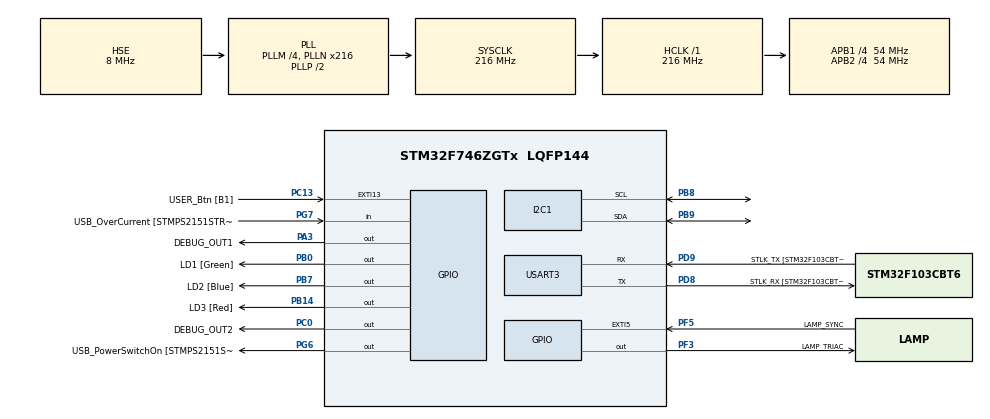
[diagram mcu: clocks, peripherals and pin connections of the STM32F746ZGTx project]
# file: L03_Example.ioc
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I2C1.Timing=0x20404768
Mcu.Family=STM32F7
Mcu.Name=STM32F746ZGTx
Mcu.Package=LQFP144
NVIC.EXTI15_10_IRQn=true\:0\:0\:false\:false\:true\:true\:true\:true
NVIC.EXTI9_5_IRQn=true\:0\:0\:false\:false\:true\:true\:true\:true
NVIC.PriorityGroup=NVIC_PRIORITYGROUP_4
NVIC.TIM2_IRQn=true\:0\:0\:false\:false\:true\:true\:true\:true
NVIC.TIM7_IRQn=true\:0\:0\:false\:false\:true\:true\:true\:true
NVIC.USART3_IRQn=true\:1\:0\:true\:false\:true\:true\:true\:true
PA1.GPIO_Label=RMII_REF_CLK [LAN8742A-CZ-TR_REFCLK0]
PA1.Signal=ETH_REF_CLK
PA10.GPIO_Label=USB_ID
PA10.Signal=USB_OTG_FS_ID
PA11.GPIO_Label=USB_DM
PA11.Signal=USB_OTG_FS_DM
PA12.GPIO_Label=USB_DP
PA12.Signal=USB_OTG_FS_DP
PA13.GPIO_Label=TMS
PA13.Mode=Serial_Wire
PA13.Signal=SYS_JTMS-SWDIO
PA14.GPIO_Label=TCK
PA14.Mode=Serial_Wire
PA14.Signal=SYS_JTCK-SWCLK
PA2.GPIO_Label=RMII_MDIO [LAN8742A-CZ-TR_MDIO]
PA2.Signal=ETH_MDIO
PA3.GPIO_Label=DEBUG_OUT1
PA3.Signal=GPIO_Output
PA7.GPIO_Label=RMII_CRS_DV [LAN8742A-CZ-TR_CRS_DV]
PA7.Signal=ETH_CRS_DV
PA8.GPIO_Label=USB_SOF [TP1]
PA8.Signal=USB_OTG_FS_SOF
PA9.GPIO_Label=USB_VBUS
PA9.Signal=USB_OTG_FS_VBUS
PB0.GPIO_Label=LD1 [Green]
PB0.Signal=GPIO_Output
PB13.GPIO_Label=RMII_TXD1 [LAN8742A-CZ-TR_TXD1]
PB13.Signal=ETH_TXD1
PB14.GPIO_Label=LD3 [Red]
PB14.Signal=GPIO_Output
PB3.GPIO_Label=SW0
PB3.Signal=SYS_JTDO-SWO
PB7.GPIO_Label=LD2 [Blue]
PB7.Signal=GPIO_Output
PB8.Mode=I2C
PB8.Signal=I2C1_SCL
PB9.Mode=I2C
PB9.Signal=I2C1_SDA
PC0.GPIO_Label=DEBUG_OUT2
PC0.Signal=GPIO_Output
PC1.GPIO_Label=RMII_MDC [LAN8742A-CZ-TR_MDC]
PC1.Signal=ETH_MDC
PC13.GPIO_Label=USER_Btn [B1]
PC13.Signal=GPXTI13
PC14/OSC32_IN.Mode=LSE-External-Oscillator
PC14/OSC32_IN.Signal=RCC_OSC32_IN
PC15/OSC32_OUT.Mode=LSE-External-Oscillator
PC15/OSC32_OUT.Signal=RCC_OSC32_OUT
PC4.GPIO_Label=RMII_RXD0 [LAN8742A-CZ-TR_RXD0]
PC4.Signal=ETH_RXD0
PC5.GPIO_Label=RMII_RXD1 [LAN8742A-CZ-TR_RXD1]
PC5.Signal=ETH_RXD1
PD8.GPIO_Label=STLK_RX [STM32F103CBT6_PA3]
PD8.GPIO_PuPd=GPIO_PULLUP
PD8.Mode=Asynchronous
PD8.Signal=USART3_TX
PD9.GPIO_Label=STLK_TX [STM32F103CBT6_PA2]
PD9.GPIO_PuPd=GPIO_PULLUP
PD9.Mode=Asynchronous
PD9.Signal=USART3_RX
PF3.GPIO_Label=LAMP_TRIAC
PF3.Signal=GPIO_Output
PF5.GPIO_Label=LAMP_SYNC
PF5.Signal=GPXTI5
PG11.GPIO_Label=RMII_TX_EN [LAN8742A-CZ-TR_TXEN]
PG11.Signal=ETH_TX_EN
PG13.GPIO_Label=RMII_TXD0 [LAN8742A-CZ-TR_TXD0]
PG13.Signal=ETH_TXD0
PG6.GPIO_Label=USB_PowerSwitchOn [STMPS2151STR_EN]
PG6.Signal=GPIO_Output
PG7.GPIO_Label=USB_OverCurrent [STMPS2151STR_FAULT]
PG7.Signal=GPIO_Input
PH0/OSC_IN.GPIO_Label=MCO [STM32F103CBT6_PA8]
PH0/OSC_IN.Mode=HSE-External-Clock-Source
PH0/OSC_IN.Signal=RCC_OSC_IN
PH1/OSC_OUT.Mode=HSE-External-Clock-Source
PH1/OSC_OUT.Signal=RCC_OSC_OUT
ProjectManager.HeapSize=0x200
ProjectManager.StackSize=0x400
ProjectManager.TargetToolchain=STM32CubeIDE
RCC.48MHZClocksFreq_Value=24000000
RCC.AHBFreq_Value=216000000
RCC.APB1CLKDivider=RCC_HCLK_DIV4
RCC.APB1Freq_Value=54000000
RCC.APB1TimFreq_Value=108000000
RCC.APB2CLKDivider=RCC_HCLK_DIV4
RCC.APB2Freq_Value=54000000
RCC.APB2TimFreq_Value=108000000
RCC.CortexFreq_Value=216000000
RCC.HCLKFreq_Value=216000000
RCC.HSE_VALUE=8000000
RCC.HSI_VALUE=16000000
RCC.PLLM=4
RCC.PLLMUL=RCC_PLL_MUL9
RCC.PLLN=216
RCC.PLLQ=3
RCC.PLLSourceVirtual=RCC_PLLSOURCE_HSE
RCC.PRESCALERUSB=RCC_USBCLKSOURCE_PLL_DIV1_5
RCC.SYSCLKFreq_VALUE=216000000
RCC.SYSCLKSource=RCC_SYSCLKSOURCE_PLLCLK
RCC.SYSCLKSourceVirtual=RCC_SYSCLKSOURCE_PLLCLK
RCC.USBFreq_Value=144000000
RCC.VCOOutputFreq_Value=432000000
TIM2.Period=5000 - 1
TIM2.Prescaler=108 - 1
TIM7.Period=100 - 1
TIM7.Prescaler=108 - 1
USART3.VirtualMode-Asynchronous=VM_ASYNC
VP_TIM2_VS_ClockSourceINT.Mode=Internal
VP_TIM7_VS_ClockSourceINT.Mode=Enable_Timer
board=NUCLEO-F746ZG

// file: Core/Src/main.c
/* USER CODE BEGIN Header */
/**
  ******************************************************************************
  * @file           : main.c
  * @brief          : Main program body
  ******************************************************************************
  * @attention
  *
  * Copyright (c) 2025 STMicroelectronics.
  * All rights reserved.
  *
  * This software is licensed under terms that can be found in the LICENSE file
  * in the root directory of this software component.
  * If no LICENSE file comes with this software, it is provided AS-IS.
  *
  ******************************************************************************
  */
/* USER CODE END Header */
#include "main.h"
#include "i2c.h"
#include "tim.h"
#include "usart.h"
#include "gpio.h"

/* USER CODE BEGIN Includes */
#include <stdlib.h>
#include <string.h>
/* USER CODE END Includes */

/* USER CODE BEGIN PV */
_Bool DEBUG_OUT1_State, DEBUG_OUT2_State;
_Bool DEBUG_Flag1, DEBUG_Flag2;
unsigned int TIM_Period_us;
char UART_Cmd[] = "0000";
unsigned int UART_CmdLen;
/* USER CODE END PV */

void SystemClock_Config(void);

/* USER CODE BEGIN 0 */
/**
  * @brief  Period elapsed callback in non-blocking mode
  * @param  htim TIM handle
  * @retval None
  */
void HAL_TIM_PeriodElapsedCallback(TIM_HandleTypeDef *htim)
{
  if(htim == &htim2)
  {
    // Stop delay timer
    HAL_TIM_Base_Stop_IT(&htim2);

    // Clear global variable #1
    DEBUG_Flag1 = 0;

    // Clear and read digital output #1
    HAL_GPIO_WritePin(DEBUG_OUT1_GPIO_Port, DEBUG_OUT1_Pin, GPIO_PIN_RESET);
    DEBUG_OUT1_State = HAL_GPIO_ReadPin(DEBUG_OUT1_GPIO_Port, DEBUG_OUT1_Pin);

    // Set global variable #2
    DEBUG_Flag2 = 1;

    // Set and read digital output #2
    HAL_GPIO_WritePin(DEBUG_OUT2_GPIO_Port, DEBUG_OUT2_Pin, GPIO_PIN_SET);
    DEBUG_OUT2_State = HAL_GPIO_ReadPin(DEBUG_OUT2_GPIO_Port, DEBUG_OUT2_Pin);

    // Start pulse timer
    HAL_TIM_Base_Start_IT(&htim7);
  }
  else if(htim == &htim7)
  {
    // Stop pulse timer
    HAL_TIM_Base_Stop_IT(&htim7);

    // Clear global variable #2
    DEBUG_Flag2 = 0;

    // Clear and read digital output #2
    HAL_GPIO_WritePin(DEBUG_OUT2_GPIO_Port, DEBUG_OUT2_Pin, GPIO_PIN_RESET);
    DEBUG_OUT2_State = HAL_GPIO_ReadPin(DEBUG_OUT2_GPIO_Port, DEBUG_OUT2_Pin);
  }
}

/**
  * @brief  Rx Transfer completed callback.
  * @param  huart UART handle.
  * @retval None
  */
void HAL_UART_RxCpltCallback(UART_HandleTypeDef *huart)
{
  if(huart == &huart3)
  {
    unsigned long int TIM_Period_us_tmp = strtol(UART_Cmd, NULL, 10);
    if(TIM_Period_us_tmp >= 100 && TIM_Period_us_tmp <= 100000)
      TIM_Period_us = TIM_Period_us_tmp;
    HAL_UART_Receive_IT(&huart3, (uint8_t*)UART_Cmd, UART_CmdLen);
  }
}

/**
  * @brief  EXTI line detection callbacks.
  * @param  GPIO_Pin Specifies the pins connected EXTI line
  * @retval None
  */
void HAL_GPIO_EXTI_Callback(uint16_t GPIO_Pin)
{
  if(GPIO_Pin == USER_Btn_Pin)
  {
    // Write new period value
    __HAL_TIM_SET_AUTORELOAD(&htim2, TIM_Period_us - 1);

    // Set global variable #1
    DEBUG_Flag1 = 1;

    // Set and read digital output #1
    HAL_GPIO_WritePin(DEBUG_OUT1_GPIO_Port, DEBUG_OUT1_Pin, GPIO_PIN_SET);
    DEBUG_OUT1_State = HAL_GPIO_ReadPin(DEBUG_OUT1_GPIO_Port, DEBUG_OUT1_Pin);

    // Start delay timer
    HAL_TIM_Base_Start_IT(&htim2);
  }
}

/* USER CODE END 0 */

int main(void)
{

  /* MCU Configuration--------------------------------------------------------*/

  /* Reset of all peripherals, Initializes the Flash interface and the Systick. */
  HAL_Init();

  /* Configure the system clock */
  SystemClock_Config();

  /* Initialize all configured peripherals */
  MX_GPIO_Init();
  MX_I2C1_Init();
  MX_USART3_UART_Init();
  MX_TIM2_Init();
  MX_TIM7_Init();
  /* USER CODE BEGIN 2 */
  TIM_Period_us = __HAL_TIM_GET_AUTORELOAD(&htim2) + 1;
  UART_CmdLen = strlen(UART_Cmd);
  HAL_UART_Receive_IT(&huart3, (uint8_t*)UART_Cmd, UART_CmdLen);
  /* USER CODE END 2 */

  /* Infinite loop */
  while (1)
  {

  }
}

void SystemClock_Config(void)
{
  RCC_OscInitTypeDef RCC_OscInitStruct = {0};
  RCC_ClkInitTypeDef RCC_ClkInitStruct = {0};

  /** Configure LSE Drive Capability
  */
  HAL_PWR_EnableBkUpAccess();

  /** Configure the main internal regulator output voltage
  */
  __HAL_RCC_PWR_CLK_ENABLE();
  __HAL_PWR_VOLTAGESCALING_CONFIG(PWR_REGULATOR_VOLTAGE_SCALE1);

  /** Initializes the RCC Oscillators according to the specified parameters
  * in the RCC_OscInitTypeDef structure.
  */
  RCC_OscInitStruct.OscillatorType = RCC_OSCILLATORTYPE_HSE;
  RCC_OscInitStruct.HSEState = RCC_HSE_BYPASS;
  RCC_OscInitStruct.PLL.PLLState = RCC_PLL_ON;
  RCC_OscInitStruct.PLL.PLLSource = RCC_PLLSOURCE_HSE;
  RCC_OscInitStruct.PLL.PLLM = 4;
  RCC_OscInitStruct.PLL.PLLN = 216;
  RCC_OscInitStruct.PLL.PLLP = RCC_PLLP_DIV2;
  RCC_OscInitStruct.PLL.PLLQ = 3;
  if (HAL_RCC_OscConfig(&RCC_OscInitStruct) != HAL_OK)
  {
    Error_Handler();
  }

  /** Activate the Over-Drive mode
  */
  if (HAL_PWREx_EnableOverDrive() != HAL_OK)
  {
    Error_Handler();
  }

  /** Initializes the CPU, AHB and APB buses clocks
  */
  RCC_ClkInitStruct.ClockType = RCC_CLOCKTYPE_HCLK|RCC_CLOCKTYPE_SYSCLK
                              |RCC_CLOCKTYPE_PCLK1|RCC_CLOCKTYPE_PCLK2;
  RCC_ClkInitStruct.SYSCLKSource = RCC_SYSCLKSOURCE_PLLCLK;
  RCC_ClkInitStruct.AHBCLKDivider = RCC_SYSCLK_DIV1;
  RCC_ClkInitStruct.APB1CLKDivider = RCC_HCLK_DIV4;
  RCC_ClkInitStruct.APB2CLKDivider = RCC_HCLK_DIV4;

  if (HAL_RCC_ClockConfig(&RCC_ClkInitStruct, FLASH_LATENCY_7) != HAL_OK)
  {
    Error_Handler();
  }
}

void Error_Handler(void)
{
  __disable_irq();
  while (1)
  {
  }
}
